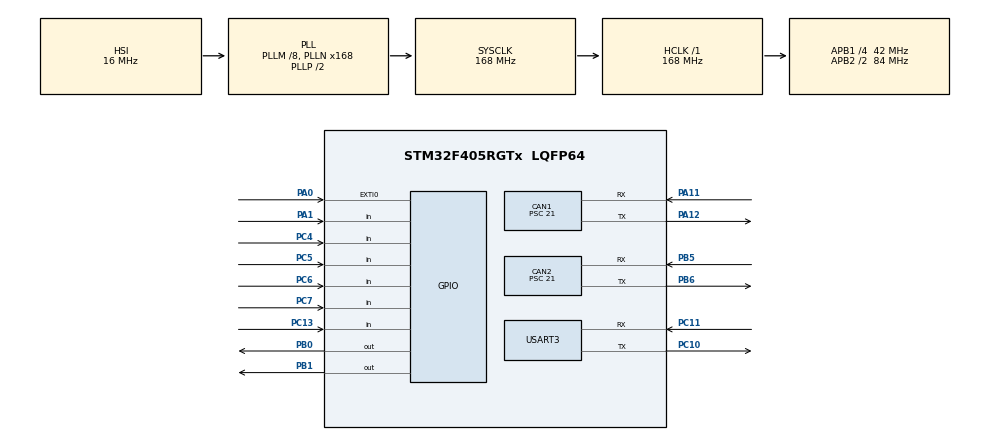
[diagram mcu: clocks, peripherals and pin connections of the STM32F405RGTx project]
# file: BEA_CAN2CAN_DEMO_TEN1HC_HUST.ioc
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CAN1.BS1=CAN_BS1_12TQ
CAN1.BS2=CAN_BS2_4TQ
CAN1.CalculateBaudRate=117647
CAN1.CalculateTimeBit=8500
CAN1.CalculateTimeQuantum=500.0
CAN1.Prescaler=21
CAN2.BS1=CAN_BS1_12TQ
CAN2.BS2=CAN_BS2_4TQ
CAN2.CalculateBaudRate=117647
CAN2.CalculateTimeBit=8500
CAN2.CalculateTimeQuantum=500.0
CAN2.Prescaler=21
Mcu.Family=STM32F4
Mcu.Name=STM32F405RGTx
Mcu.Package=LQFP64
NVIC.CAN1_RX0_IRQn=true\:2\:0\:true\:false\:true\:true\:true\:true
NVIC.CAN2_RX0_IRQn=true\:2\:0\:true\:false\:true\:true\:true\:true
NVIC.EXTI0_IRQn=true\:1\:0\:true\:false\:true\:true\:true\:true
NVIC.PriorityGroup=NVIC_PRIORITYGROUP_4
NVIC.TIM2_IRQn=true\:0\:0\:false\:false\:true\:true\:true\:true
NVIC.TIM3_IRQn=true\:0\:0\:false\:false\:true\:true\:true\:true
NVIC.USART3_IRQn=true\:1\:0\:true\:false\:true\:true\:true\:true
PA0-WKUP.GPIO_ModeDefaultEXTI=GPIO_MODE_IT_FALLING
PA0-WKUP.GPIO_PuPd=GPIO_PULLUP
PA0-WKUP.Signal=GPXTI0
PA1.GPIO_PuPd=GPIO_PULLUP
PA1.Signal=GPIO_Input
PA11.Mode=CAN_Activate
PA11.Signal=CAN1_RX
PA12.Mode=CAN_Activate
PA12.Signal=CAN1_TX
PB0.Signal=GPIO_Output
PB1.Signal=GPIO_Output
PB5.Mode=CAN_Activate
PB5.Signal=CAN2_RX
PB6.Mode=CAN_Activate
PB6.Signal=CAN2_TX
PC10.Mode=Asynchronous
PC10.Signal=USART3_TX
PC11.Mode=Asynchronous
PC11.Signal=USART3_RX
PC13-ANTI_TAMP.GPIO_PuPd=GPIO_PULLUP
PC13-ANTI_TAMP.Signal=GPIO_Input
PC4.GPIO_PuPd=GPIO_PULLUP
PC4.Signal=GPIO_Input
PC5.GPIO_PuPd=GPIO_PULLUP
PC5.Signal=GPIO_Input
PC6.GPIO_PuPd=GPIO_PULLUP
PC6.Signal=GPIO_Input
PC7.GPIO_PuPd=GPIO_PULLUP
PC7.Signal=GPIO_Input
PH0-OSC_IN.Mode=HSE-External-Oscillator
PH0-OSC_IN.Signal=RCC_OSC_IN
PH1-OSC_OUT.Mode=HSE-External-Oscillator
PH1-OSC_OUT.Signal=RCC_OSC_OUT
ProjectManager.HeapSize=0x200
ProjectManager.StackSize=0x400
ProjectManager.TargetToolchain=STM32CubeIDE
RCC.48MHZClocksFreq_Value=84000000
RCC.AHBFreq_Value=168000000
RCC.APB1CLKDivider=RCC_HCLK_DIV4
RCC.APB1Freq_Value=42000000
RCC.APB1TimFreq_Value=84000000
RCC.APB2CLKDivider=RCC_HCLK_DIV2
RCC.APB2Freq_Value=84000000
RCC.APB2TimFreq_Value=168000000
RCC.CortexFreq_Value=168000000
RCC.HCLKFreq_Value=168000000
RCC.HSE_VALUE=8000000
RCC.HSI_VALUE=16000000
RCC.LSE_VALUE=32768
RCC.PLLM=8
RCC.PLLN=168
RCC.SYSCLKFreq_VALUE=168000000
RCC.SYSCLKSource=RCC_SYSCLKSOURCE_PLLCLK
RCC.VCOOutputFreq_Value=336000000
TIM2.Period=99999
TIM2.Prescaler=7999
TIM3.Period=49999
TIM3.Prescaler=7999
USART3.VirtualMode=VM_ASYNC
VP_TIM2_VS_ClockSourceINT.Mode=Internal
VP_TIM3_VS_ClockSourceINT.Mode=Internal
board=custom

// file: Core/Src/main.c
/* USER CODE BEGIN Header */
/**
 ******************************************************************************
 * @file           : main.c
 * @brief          : Main program body
 ******************************************************************************
 * @attention
 *
 * Copyright (c) 2023 STMicroelectronics.
 * All rights reserved.
 *
 * This software is licensed under terms that can be found in the LICENSE file
 * in the root directory of this software component.
 * If no LICENSE file comes with this software, it is provided AS-IS.
 *
 ******************************************************************************
 */
/* USER CODE END Header */
#include "main.h"
#include "can.h"
#include "gpio.h"
#include "tim.h"
#include "usart.h"

/* USER CODE BEGIN Includes */
#include "api_gateway_app.h"
#include "diagnostic.h"
/* USER CODE END Includes */

/* USER CODE BEGIN PV */
uint8_t uart3_receive;

CAN_TxHeaderTypeDef CAN1_pHeader;
CAN_RxHeaderTypeDef CAN1_pHeaderRx;
CAN_FilterTypeDef CAN1_sFilterConfig;
CAN_TxHeaderTypeDef CAN2_pHeader;
CAN_RxHeaderTypeDef CAN2_pHeaderRx;
CAN_FilterTypeDef CAN2_sFilterConfig;
uint32_t CAN1_pTxMailbox;
uint32_t CAN2_pTxMailbox;

uint16_t NumBytesReq = 0;
uint8_t REQ_BUFFER[4096];
uint8_t REQ_1BYTE_DATA;

uint16_t Num_Consecutive_Tester;
uint8_t Flg_Consecutive = 0;

unsigned int TimeStamp;
// maximum characters send out via UART is 30
char bufsend[30] = "XXX: D1 D2 D3 D4 D5 D6 D7 D8  ";
/* USER CODE END PV */

void SystemClock_Config(void);
/* USER CODE BEGIN PFP */
void PrintCANLog(uint16_t CANID, uint8_t* CAN_Frame);
void APP_Delay(uint16_t delay);
/* USER CODE END PFP */

int main(void)
{

  /* MCU Configuration--------------------------------------------------------*/

  /* Reset of all peripherals, Initializes the Flash interface and the Systick. */
  HAL_Init();

  /* Configure the system clock */
  SystemClock_Config();

  /* Initialize all configured peripherals */
  MX_GPIO_Init();
  MX_CAN1_Init();
  MX_CAN2_Init();
  MX_USART3_UART_Init();
  MX_TIM2_Init();
  MX_TIM3_Init();
  /* USER CODE BEGIN 2 */
  CAN_Setup();
  __HAL_UART_ENABLE_IT(&huart3, UART_IT_RXNE);

  /* USER CODE END 2 */

  /* Infinite loop */
  /* USER CODE BEGIN WHILE */
  // Example Function to print can message via uart
  LOG(CAN1_pHeader.StdId, &CAN1_DATA_TX[0]);
  diagnostic_init();

  uint8_t tester_input_message[8];
  uint8_t diagnostic_result_message[8];
  uint8_t user_input_message[8];
  uint8_t ecu_input_message[8];
  while (1) {
    /* USER CODE END WHILE */

    /* USER CODE BEGIN 3 */
    if (APP_GATEWAY_GetRequestFromUser(user_input_message, sizeof(user_input_message))) {
      APP_GATEWAY_SendRequestToECU(user_input_message, sizeof(user_input_message));
    }

    if (APP_GATEWAY_GetRequestFromTester(tester_input_message, sizeof(tester_input_message))) {
      APP_GATEWAY_HandleRequestOfTester(tester_input_message, diagnostic_result_message);
      APP_GATEWAY_SendResponseToTester(diagnostic_result_message, sizeof(diagnostic_result_message));
    }

    if (APP_GATEWAY_GetResponseFromECU(ecu_input_message, sizeof(ecu_input_message))) {
      LOG(CAN1_pHeaderRx.StdId, ecu_input_message);
    }

    if (!BtnU) /*IG OFF->ON stimulation*/
    {
      APP_Delay(20);
      APP_GATEWAY_SendLogToUser((uint8_t*) "IG OFF ");
      while (!BtnU)
        ;
      update_sid();
      CAN_Setup();

      APP_GATEWAY_SendLogToUser((uint8_t*) "-> IG ON \n");
      APP_Delay(20);
    }
  }

  memset(&REQ_BUFFER, 0x00, 4096);
  NumBytesReq = 0;

  /* USER CODE END 3 */
}

void SystemClock_Config(void)
{
  RCC_OscInitTypeDef RCC_OscInitStruct = { 0 };
  RCC_ClkInitTypeDef RCC_ClkInitStruct = { 0 };

  /** Configure the main internal regulator output voltage
   */
  __HAL_RCC_PWR_CLK_ENABLE();
  __HAL_PWR_VOLTAGESCALING_CONFIG(PWR_REGULATOR_VOLTAGE_SCALE1);

  /** Initializes the RCC Oscillators according to the specified parameters
   * in the RCC_OscInitTypeDef structure.
   */
  RCC_OscInitStruct.OscillatorType = RCC_OSCILLATORTYPE_HSI;
  RCC_OscInitStruct.HSIState = RCC_HSI_ON;
  RCC_OscInitStruct.HSICalibrationValue = RCC_HSICALIBRATION_DEFAULT;
  RCC_OscInitStruct.PLL.PLLState = RCC_PLL_ON;
  RCC_OscInitStruct.PLL.PLLSource = RCC_PLLSOURCE_HSI;
  RCC_OscInitStruct.PLL.PLLM = 8;
  RCC_OscInitStruct.PLL.PLLN = 168;
  RCC_OscInitStruct.PLL.PLLP = RCC_PLLP_DIV2;
  RCC_OscInitStruct.PLL.PLLQ = 4;
  if (HAL_RCC_OscConfig(&RCC_OscInitStruct) != HAL_OK) {
    Error_Handler();
  }

  /** Initializes the CPU, AHB and APB buses clocks
   */
  RCC_ClkInitStruct.ClockType = RCC_CLOCKTYPE_HCLK | RCC_CLOCKTYPE_SYSCLK
      | RCC_CLOCKTYPE_PCLK1 | RCC_CLOCKTYPE_PCLK2;
  RCC_ClkInitStruct.SYSCLKSource = RCC_SYSCLKSOURCE_PLLCLK;
  RCC_ClkInitStruct.AHBCLKDivider = RCC_SYSCLK_DIV1;
  RCC_ClkInitStruct.APB1CLKDivider = RCC_HCLK_DIV4;
  RCC_ClkInitStruct.APB2CLKDivider = RCC_HCLK_DIV2;

  if (HAL_RCC_ClockConfig(&RCC_ClkInitStruct, FLASH_LATENCY_5) != HAL_OK) {
    Error_Handler();
  }
}

/* USER CODE BEGIN 4 */
void PrintCANLog(uint16_t CANID, uint8_t* CAN_Frame)
{
  uint16_t loopIndx = 0;
  char bufID[5] = "   ";
  char bufDat[3] = "  ";
  char bufTime[8] = "        ";

  sprintf(bufTime, "%d", TimeStamp);
  USART3_SendString((uint8_t*) bufTime);
  USART3_SendString((uint8_t*) " ");

  sprintf(bufID, "%03X", CANID);
  for (loopIndx = 0; loopIndx < 3; loopIndx++) {
    bufsend[loopIndx] = bufID[loopIndx];
  }
  bufsend[3] = ':';
  bufsend[4] = ' ';

  for (loopIndx = 0; loopIndx < 8; loopIndx++) {
    sprintf(bufDat, "%02X", CAN_Frame[loopIndx]);
    bufsend[loopIndx * 3 + 5] = bufDat[0];
    bufsend[loopIndx * 3 + 6] = bufDat[1];
    bufsend[loopIndx * 3 + 7] = ' ';
  }
  bufsend[29] = '\n';
  USART3_SendString((unsigned char*) bufsend);
}

void APP_Delay(uint16_t delay)
{
  HAL_Delay(delay);
}
/* USER CODE END 4 */

void Error_Handler(void)
{
  __disable_irq();
  while (1) {
  }
}
